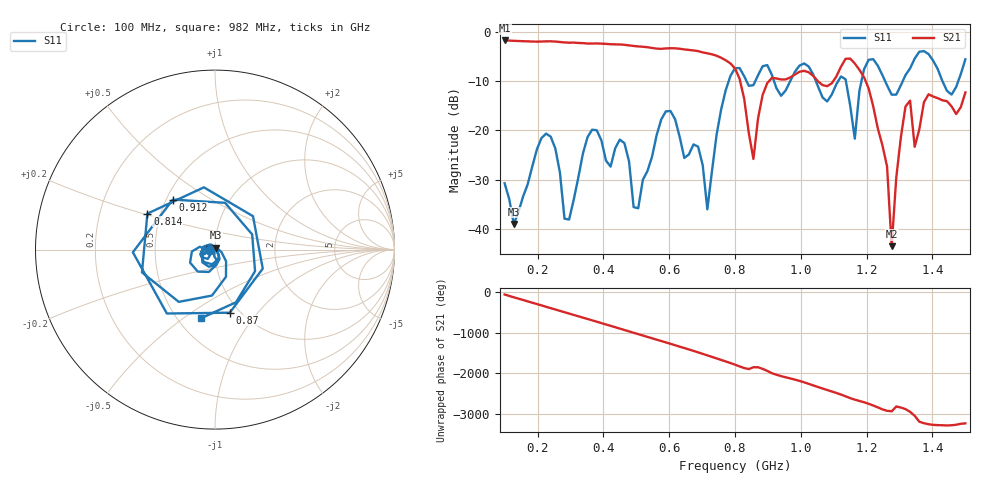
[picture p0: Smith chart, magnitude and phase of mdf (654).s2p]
! NanoVNA-App
! Date: 2025-09-25 15:43:30
! Start: 100MHz Stop: 1,5GHz Points: 101
! S-Parameter data: F S11 S21 S12 S22
# Hz S RI R 50
!  Frequency  S11_Real  S11_Imag  S21_Real  S21_Imag  S12_Real  S12_Imag  S22_Real  S22_Imag
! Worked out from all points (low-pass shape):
!   101 points, 100 MHz to 1.5 GHz, reference 50 ohm
!   highest |S21| = -1.80 dB at 100 MHz (marker M1); lowest = -43.5 dB at 1.276 GHz (marker M2)
!   |S21| within 3 dB of the highest: start of sweep to 739.3 MHz
!   lowest |S11| = -39.0 dB at 128 MHz (marker M3), VSWR 1.02, Z = 50.3 + j1.08 ohm
!   |S11| at or under -10 dB: start of sweep to 781.1 MHz; 918.4 MHz to 968.1 MHz (49.7 MHz wide, 5.27 % of centre); 1.045 GHz to 1.114 GHz (68.44 MHz wide, 6.34 % of centre) (the widest 3 of 7)
!   S12 and S22 are empty: the file has one direction only
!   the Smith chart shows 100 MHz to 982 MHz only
!   S11 on the Smith chart (normalised r, x): 100 MHz: 0.94, -0.01; 814 MHz: 0.42, +0.21; 870 MHz: 0.90, -0.73; 912 MHz: 0.54, +0.35; 982 MHz: 0.65, -0.58
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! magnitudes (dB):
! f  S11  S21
! 100 MHz  -30.7  -1.8
! 128 MHz  -39.0  -1.9
! 212 MHz  -21.6  -2.0
! 282 MHz  -37.9  -2.2
! 338 MHz  -24.7  -2.3
! 464 MHz  -22.6  -2.7
! 506 MHz  -35.8  -3.0
! 576 MHz  -17.8  -3.5
! 716 MHz  -36.0  -4.4
! 800 MHz  -7.4  -7.4
! 814 MHz  -7.4  -9.6
! 856 MHz  -10.9  -25.8
! 870 MHz  -8.8  -17.6
! 912 MHz  -8.8  -9.4
! 982 MHz  -8.1  -8.7
! 1.038 GHz  -8.8  -9.0
! 1.164 GHz  -21.7  -6.5
! 1.192 GHz  -7.6  -9.2
! 1.262 GHz  -10.9  -27.3
! 1.276 GHz  -12.8  -43.5
! 1.318 GHz  -8.8  -15.2
! 1.5 GHz  -5.6  -12.3
